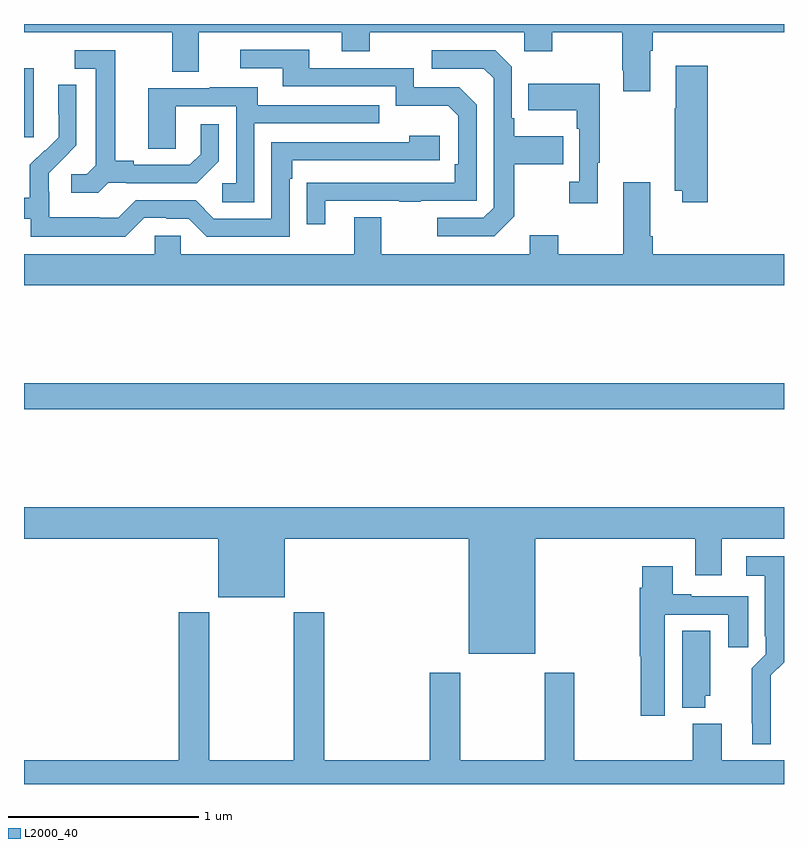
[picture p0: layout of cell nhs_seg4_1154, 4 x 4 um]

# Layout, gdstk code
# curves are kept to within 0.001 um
import gdstk
lib = gdstk.Library(unit=1e-6, precision=1e-09)
def R(c, l, rs):  # rectangles x0, y0, x1, y1
    for r in rs: c.add(gdstk.rectangle(r[:2], r[2:], *l))
def P(c, l, *ps):  # polygons
    for p in ps: c.add(gdstk.Polygon(p, *l))
L2000_40 = (2000, 40)

nhs_seg4_1154 = lib.new_cell('nhs_seg4_1154')
R(nhs_seg4_1154, L2000_40, [(171,758.872,175,759.008), (171,760.305,171.052,760.666)])
P(nhs_seg4_1154, L2000_40, [(174.295,760.76),(174.308,760.76),(174.308,760.856),(175,760.856),(175,760.9),(171,760.9),(171,760.856),(171.779,760.856),(171.779,760.648),(171.919,760.648),(171.919,760.856),(172.673,760.856),(172.673,760.757),(172.821,760.757),(172.821,760.856),(173.634,760.856),(173.634,760.757),(173.781,760.757),(173.781,760.856),(174.148,760.856),(174.148,760.657),(174.155,760.657),(174.155,760.545),(174.295,760.545)],
  [(172.585,759.969),(172.975,759.969),(172.975,759.964),(173.087,759.964),(173.087,759.969),(173.382,759.969),(173.382,760.476),(173.292,760.566),(173.052,760.566),(173.052,760.668),(172.501,760.668),(172.501,760.764),(172.137,760.764),(172.137,760.668),(172.361,760.668),(172.361,760.572),(172.956,760.572),(172.956,760.469),(173.233,760.469),(173.286,760.416),(173.286,760.162),(173.266,760.162),(173.266,760.065),(172.489,760.064),(172.489,759.846),(172.585,759.846)],
  [(171.444,760.065),(171.538,760.065),(171.538,760.062),(171.91,760.062),(172.026,760.178),(172.026,760.372),(171.929,760.372),(171.929,760.215),(171.872,760.158),(171.577,760.158),(171.577,760.181),(171.481,760.181),(171.481,760.761),(171.267,760.761),(171.267,760.665),(171.377,760.665),(171.377,760.157),(171.33,760.11),(171.249,760.11),(171.249,760.013),(171.392,760.013)],
  [(173.581,759.889),(173.581,760.162),(173.837,760.162),(173.837,760.309),(173.581,760.309),(173.581,760.405),(173.568,760.405),(173.568,760.674),(173.481,760.761),(173.145,760.761),(173.145,760.665),(173.421,760.665),(173.472,760.614),(173.472,759.933),(173.418,759.879),(173.175,759.879),(173.175,759.783),(173.475,759.783)],
  [(174.599,760.681),(174.431,760.681),(174.431,760.457),(174.424,760.457),(174.424,760.022),(174.464,760.022),(174.464,759.963),(174.599,759.963)],
  [(174.019,760.169),(174.031,760.169),(174.031,760.585),(173.653,760.585),(173.653,760.445),(173.91,760.445),(173.91,760.349),(173.922,760.349),(173.922,760.07),(173.871,760.07),(173.871,759.957),(174.019,759.957)],
  [(171.633,759.879),(171.749,759.879),(171.749,759.876),(171.867,759.876),(171.963,759.78),(172.398,759.78),(172.398,760.085),(172.411,760.085),(172.411,760.182),(173.188,760.182),(173.188,760.312),(173.027,760.312),(173.027,760.278),(172.302,760.278),(172.302,759.876),(171.999,759.876),(171.903,759.972),(171.588,759.972),(171.495,759.879),(171.395,759.879),(171.395,759.883),(171.132,759.883),(171.132,760.017),(171.13,760.017),(171.13,760.114),(171.276,760.262),(171.276,760.58),(171.18,760.58),(171.18,760.426),(171.182,760.426),(171.182,760.304),(171.111,760.233),(171.108,760.236),(171.031,760.159),(171.031,759.985),(171,759.985),(171,759.876),(171.036,759.876),(171.036,759.779),(171.533,759.779)],
  [(172.212,760.377),(172.871,760.377),(172.871,760.473),(172.231,760.473),(172.231,760.567),(171.977,760.567),(171.977,760.563),(171.653,760.563),(171.653,760.243),(171.798,760.243),(171.798,760.467),(172.116,760.467),(172.116,760.062),(172.044,760.062),(172.044,759.961),(172.212,759.961)],
  [(175,759.688),(174.308,759.688),(174.308,759.784),(174.295,759.784),(174.295,760.066),(174.155,760.066),(174.155,759.688),(173.811,759.688),(173.811,759.787),(173.663,759.787),(173.663,759.688),(172.879,759.688),(172.879,759.883),(172.739,759.883),(172.739,759.688),(171.825,759.688),(171.825,759.786),(171.687,759.786),(171.687,759.688),(171,759.688),(171,759.524),(175,759.524)],
  [(173.692,758.192),(174.533,758.192),(174.533,757.998),(174.673,757.998),(174.673,758.192),(175,758.192),(175,758.356),(171,758.356),(171,758.192),(172.022,758.192),(172.022,757.883),(172.372,757.883),(172.372,758.192),(173.342,758.192),(173.342,757.586),(173.692,757.586)],
  [(174.931,757.472),(175,757.542),(175,758.098),(174.801,758.098),(174.801,757.997),(174.899,757.997),(174.899,757.678),(174.903,757.678),(174.903,757.584),(174.829,757.51),(174.829,757.219),(174.833,757.219),(174.833,757.109),(174.931,757.109)],
  [(174.373,757.791),(174.707,757.791),(174.707,757.62),(174.811,757.62),(174.811,757.887),(174.511,757.887),(174.511,757.9),(174.415,757.9),(174.415,758.047),(174.254,758.047),(174.254,757.934),(174.242,757.934),(174.242,757.572),(174.247,757.572),(174.247,757.26),(174.373,757.26)],
  [(175,757.024),(174.673,757.024),(174.673,757.216),(174.521,757.216),(174.521,757.024),(173.895,757.024),(173.895,757.486),(173.74,757.486),(173.74,757.024),(173.295,757.024),(173.295,757.486),(173.135,757.486),(173.135,757.024),(172.58,757.024),(172.58,757.804),(172.42,757.804),(172.42,757.024),(171.975,757.024),(171.975,757.804),(171.815,757.804),(171.815,757.024),(171,757.024),(171,756.9),(175,756.9)],
  [(174.586,757.365),(174.613,757.365),(174.613,757.706),(174.464,757.706),(174.464,757.301),(174.586,757.301)])

lib.write_gds('nhs_seg4_1154.gds')
